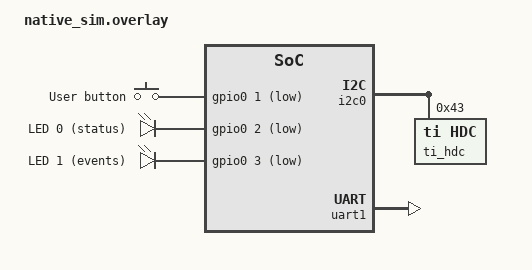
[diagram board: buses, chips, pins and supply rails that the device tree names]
/**
 * Workshop board overlay for native_sim.
 *
 * - HDC1010 sensor on emulated I2C bus (for sensor samples)
 * - Button sw0 alias (for app button module)
 * - Shell on uart1 (separate console for app)
 */

&i2c0 {
	ti_hdc: ti_hdc@43 {
		compatible = "ti,hdc";
		reg = <0x43>;
		status = "okay";
	};
};

/ {
	aliases {
		sw0 = &button0;
		led0 = &led0;
		led1 = &led1;
	};

	chosen {
		zephyr,shell-uart = &uart1;
	};

	buttons {
		compatible = "gpio-keys";
		button0: button_0 {
			gpios = <&gpio0 1 GPIO_ACTIVE_LOW>;
			label = "User button";
		};
	};

	leds {
		compatible = "gpio-leds";
		led0: led_0 {
			gpios = <&gpio0 2 GPIO_ACTIVE_LOW>;
			label = "LED 0 (status)";
		};
		led1: led_1 {
			gpios = <&gpio0 3 GPIO_ACTIVE_LOW>;
			label = "LED 1 (events)";
		};
	};
};

&uart1 {
	status = "okay";
};
